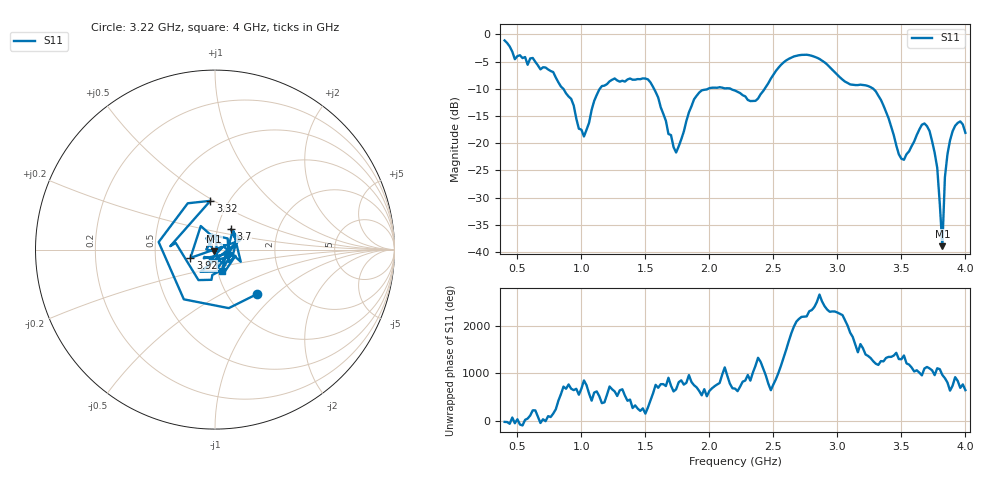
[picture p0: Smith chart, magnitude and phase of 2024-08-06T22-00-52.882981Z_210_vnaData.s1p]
!Created with skrf (http://scikit-rf.org).
# Hz S RI R 50.0
!freq ReS11 ImS11
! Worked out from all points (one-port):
!   181 points, 400 MHz to 4 GHz, reference 50 ohm
!   lowest |S11| = -38.9 dB at 3.82 GHz (marker M1), VSWR 1.02, Z = 49.5 - j1.02 ohm
!   |S11| at or under -10 dB: 858.4 MHz to 1.144 GHz (285.7 MHz wide, 28.5 % of centre); 1.567 GHz to 1.99 GHz (423.2 MHz wide, 23.8 % of centre); 3.281 GHz to end of sweep (the widest 3 of 4)
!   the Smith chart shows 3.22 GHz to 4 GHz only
!   S11 on the Smith chart (normalised r, x): 3.22 GHz: 1.35, -0.76; 3.32 GHz: 0.82, +0.48; 3.7 GHz: 1.16, +0.27; 3.92 GHz: 0.76, -0.07; 4 GHz: 1.05, -0.25
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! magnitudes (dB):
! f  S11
! 400 MHz  -1.1
! 480 MHz  -4.6
! 620 MHz  -4.3
! 860 MHz  -10.0
! 1.02 GHz  -18.8
! 1.14 GHz  -10.1
! 1.3 GHz  -8.7
! 1.52 GHz  -8.3
! 1.6 GHz  -11.6
! 1.72 GHz  -20.7
! 1.76 GHz  -20.6
! 1.92 GHz  -10.7
! 2.2 GHz  -10.3
! 2.36 GHz  -12.2
! 2.66 GHz  -4.1
! 2.86 GHz  -4.5
! 3.1 GHz  -9.2
! 3.22 GHz  -9.4
! 3.32 GHz  -11.3
! 3.48 GHz  -22.0
! 3.56 GHz  -21.5
! 3.7 GHz  -16.9
! 3.78 GHz  -24.5
! 3.82 GHz  -38.9
! 3.84 GHz  -26.2
! 3.88 GHz  -19.5
! 3.92 GHz  -16.8
! 4 GHz  -18.1
